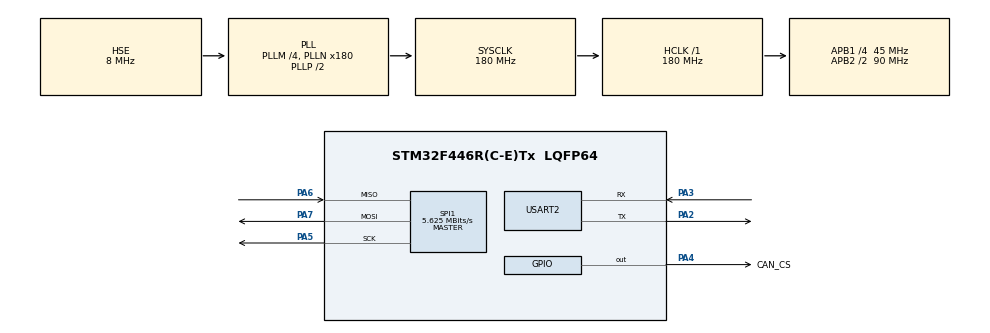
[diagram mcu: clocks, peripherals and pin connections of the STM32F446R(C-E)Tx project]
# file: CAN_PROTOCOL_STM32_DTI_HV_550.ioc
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Mcu.Family=STM32F4
Mcu.Name=STM32F446R(C-E)Tx
Mcu.Package=LQFP64
NVIC.PriorityGroup=NVIC_PRIORITYGROUP_0
NVIC.USART2_IRQn=true\:0\:0\:false\:false\:true\:true\:true\:true
PA13.Mode=Serial_Wire
PA13.Signal=SYS_JTMS-SWDIO
PA14.Mode=Serial_Wire
PA14.Signal=SYS_JTCK-SWCLK
PA2.Mode=Asynchronous
PA2.Signal=USART2_TX
PA3.Mode=Asynchronous
PA3.Signal=USART2_RX
PA4.GPIO_Label=CAN_CS
PA4.Signal=GPIO_Output
PA5.Mode=Full_Duplex_Master
PA5.Signal=SPI1_SCK
PA6.Mode=Full_Duplex_Master
PA6.Signal=SPI1_MISO
PA7.Mode=Full_Duplex_Master
PA7.Signal=SPI1_MOSI
PH0-OSC_IN.Mode=HSE-External-Oscillator
PH0-OSC_IN.Signal=RCC_OSC_IN
PH1-OSC_OUT.Mode=HSE-External-Oscillator
PH1-OSC_OUT.Signal=RCC_OSC_OUT
ProjectManager.HeapSize=0x200
ProjectManager.StackSize=0x400
ProjectManager.TargetToolchain=STM32CubeIDE
RCC.48MHZClocksFreq_Value=84000000
RCC.AHBFreq_Value=180000000
RCC.APB1CLKDivider=RCC_HCLK_DIV4
RCC.APB1Freq_Value=45000000
RCC.APB1TimFreq_Value=90000000
RCC.APB2CLKDivider=RCC_HCLK_DIV2
RCC.APB2Freq_Value=90000000
RCC.APB2TimFreq_Value=180000000
RCC.CortexFreq_Value=180000000
RCC.FLatency-AdvancedSettings=FLASH_LATENCY_5
RCC.HCLKFreq_Value=180000000
RCC.HSE_VALUE=8000000
RCC.HSI_VALUE=16000000
RCC.PLLM=4
RCC.PLLN=180
RCC.PLLSourceVirtual=RCC_PLLSOURCE_HSE
RCC.SYSCLKFreq_VALUE=180000000
RCC.SYSCLKSource=RCC_SYSCLKSOURCE_PLLCLK
RCC.USBFreq_Value=180000000
RCC.VCOOutputFreq_Value=360000000
SPI1.BaudRatePrescaler=SPI_BAUDRATEPRESCALER_16
SPI1.CalculateBaudRate=5.625 MBits/s
SPI1.Direction=SPI_DIRECTION_2LINES
SPI1.Mode=SPI_MODE_MASTER
SPI1.VirtualType=VM_MASTER
USART2.VirtualMode=VM_ASYNC
board=NUCLEO-F446RE

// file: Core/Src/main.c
/* USER CODE BEGIN Header */
/**
  ******************************************************************************
  * @file           : main.c
  * @brief          : CAN message decode + LED blink on STM32
  ******************************************************************************
  */
/* USER CODE END Header */
#include "main.h"

/* USER CODE BEGIN Includes */
#include "CANSPI.h"
/* USER CODE END Includes */

SPI_HandleTypeDef hspi1;
UART_HandleTypeDef huart2;

/* USER CODE BEGIN PV */
//CAN_RxHeaderTypeDef RxHeader;
//uint8_t RxData[8];
//uint8_t can_msg_received = 0;

char uart_buffer[100];
/* USER CODE END PV */
//uint8_t tx_buffer[27]="";

void SystemClock_Config(void);
static void MX_GPIO_Init(void);
static void MX_SPI1_Init(void);
static void MX_USART2_UART_Init(void);

/* USER CODE BEGIN 0 */
int _write(int file, char *ptr, int len)
{
    HAL_UART_Transmit(&huart2, (uint8_t *)ptr, len, HAL_MAX_DELAY);
    return len;
}

void Decode_CAN_Message(CAN_RxHeaderTypeDef *header, uint8_t *data)
{
    switch (header->StdId)
    {
		case 0x20: // ERPM, Duty, Voltage
		{
			int32_t erpm = (int32_t)((data[0] << 24) | (data[1] << 16) | (data[2] << 8) | data[3]);
			uint16_t duty_raw = (data[4] << 8) | data[5];
			uint16_t voltage = (data[6] << 8) | data[7];

			float duty = duty_raw / 10.0f;

			sprintf(uart_buffer,
					"ID: 0x20 | ERPM: %ld | Duty: %.1f %% | Voltage: %u V\r\n",
					erpm, duty, voltage);
			HAL_UART_Transmit(&huart2,uart_buffer,sizeof(uart_buffer),100);
			HAL_Delay(500);
			break;
		}

        case 0x21: // AC Current, DC Current
        {
            uint16_t ac_current_raw = (data[0] << 8) | data[1];
            uint16_t dc_current_raw = (data[2] << 8) | data[3];

            float ac_current = ac_current_raw * 0.01f;
            float dc_current = dc_current_raw * 0.1f;

            sprintf(uart_buffer,
                    "ID: 0x21 | AC Current: %.2f A | DC Current: %.2f A\r\n",
                    ac_current, dc_current);
            HAL_UART_Transmit(&huart2,uart_buffer,sizeof(uart_buffer),100);
            HAL_Delay(500);
            break;
        }

        case 0x22: // Ctrl Temp, Motor Temp, Fault Code
        {
            uint16_t ctrl_temp_raw = (data[0] << 8) | data[1];
            uint16_t motor_temp_raw = (data[2] << 8) | data[3];
            uint8_t fault_code = data[4];

            float ctrl_temp = ctrl_temp_raw * 0.1f;
            float motor_temp = motor_temp_raw * 0.1f;

            sprintf(uart_buffer,
                    "ID: 0x22 | Ctrl Temp: %.1f °C | Motor Temp: %.1f °C | Fault: 0x%02X\r\n",
                    ctrl_temp, motor_temp, fault_code);
            HAL_UART_Transmit(&huart2,uart_buffer,sizeof(uart_buffer),100);
            HAL_Delay(500);
            break;
        }

        default:
            sprintf(uart_buffer, "Unknown CAN ID: 0x%03lX\r\n", (unsigned long)header->StdId);
            HAL_UART_Transmit(&huart2,uart_buffer,sizeof(uart_buffer),100);
            HAL_Delay(500);
            break;
    }

    HAL_UART_Transmit(&huart2, (uint8_t*)uart_buffer, strlen(uart_buffer), HAL_MAX_DELAY);
}

//void HAL_CAN_RxFifo0MsgPendingCallback(CAN_HandleTypeDef *hcan)
//{
//    if (HAL_CAN_GetRxMessage(hcan, CAN_RX_FIFO0, &RxHeader, RxData) == HAL_OK)
//    {
//        Decode_CAN_Message(&RxHeader, RxData);
//        can_msg_received = 1;
//    }
//}
/* USER CODE END 0 */

int main(void)
{

  /* MCU Configuration--------------------------------------------------------*/

  /* Reset of all peripherals, Initializes the Flash interface and the Systick. */
  HAL_Init();

  /* Configure the system clock */
  SystemClock_Config();

  /* Initialize all configured peripherals */
  MX_GPIO_Init();
  MX_SPI1_Init();
  MX_USART2_UART_Init();
  /* USER CODE BEGIN 2 */
  uint16_t readValue;
  uint16_t rxValue;
  uCAN_MSG txMessage;
  uCAN_MSG rxMessage;
  HAL_ADC_Start(&hadc1);
  CANSPI_Initialize();
  HAL_Delay(1000);
  /* USER CODE END 2 */

  /* Infinite loop */
  /* USER CODE BEGIN WHILE */
  while (1)
  {
//	    HAL_ADC_PollForConversion(&hadc1,1000);
//	    readValue = HAL_ADC_GetValue(&hadc1);
//	    txMessage.frame.idType = dSTANDARD_CAN_MSG_ID_2_0B;
//	    txMessage.frame.id = 0x127; // ID can be between Hex1 and Hex7FF (1-2047 decimal)
//	    txMessage.frame.dlc = 8;
//	    txMessage.frame.data0 = 'S';
//	    txMessage.frame.data1 = 'T';
//	    txMessage.frame.data2 = 'M';
//	    txMessage.frame.data3 = '3';
//	    txMessage.frame.data4 = '2';
//	    txMessage.frame.data5 = '-';
//	    txMessage.frame.data6 = readValue & 0xff;
//	    txMessage.frame.data7 = readValue >> 8;
//	    CANSPI_Transmit(&txMessage);

	    if(CANSPI_Receive(&rxMessage))
	    {
	    	CAN_RxHeaderTypeDef fakeHeader;
	    	fakeHeader.StdId = rxMessage.frame.id;
	    	Decode_CAN_Message(&fakeHeader, &rxMessage.frame.data0);
	    }
	    HAL_Delay(100);
    /* USER CODE END WHILE */

  }
}

void SystemClock_Config(void)
{
  RCC_OscInitTypeDef RCC_OscInitStruct = {0};
  RCC_ClkInitTypeDef RCC_ClkInitStruct = {0};

  /** Configure the main internal regulator output voltage
  */
  __HAL_RCC_PWR_CLK_ENABLE();
  __HAL_PWR_VOLTAGESCALING_CONFIG(PWR_REGULATOR_VOLTAGE_SCALE1);

  /** Initializes the RCC Oscillators according to the specified parameters
  * in the RCC_OscInitTypeDef structure.
  */
  RCC_OscInitStruct.OscillatorType = RCC_OSCILLATORTYPE_HSE;
  RCC_OscInitStruct.HSEState = RCC_HSE_ON;
  RCC_OscInitStruct.PLL.PLLState = RCC_PLL_ON;
  RCC_OscInitStruct.PLL.PLLSource = RCC_PLLSOURCE_HSE;
  RCC_OscInitStruct.PLL.PLLM = 4;
  RCC_OscInitStruct.PLL.PLLN = 180;
  RCC_OscInitStruct.PLL.PLLP = RCC_PLLP_DIV2;
  RCC_OscInitStruct.PLL.PLLQ = 2;
  RCC_OscInitStruct.PLL.PLLR = 2;
  if (HAL_RCC_OscConfig(&RCC_OscInitStruct) != HAL_OK)
  {
    Error_Handler();
  }

  /** Activate the Over-Drive mode
  */
  if (HAL_PWREx_EnableOverDrive() != HAL_OK)
  {
    Error_Handler();
  }

  /** Initializes the CPU, AHB and APB buses clocks
  */
  RCC_ClkInitStruct.ClockType = RCC_CLOCKTYPE_HCLK|RCC_CLOCKTYPE_SYSCLK
                              |RCC_CLOCKTYPE_PCLK1|RCC_CLOCKTYPE_PCLK2;
  RCC_ClkInitStruct.SYSCLKSource = RCC_SYSCLKSOURCE_PLLCLK;
  RCC_ClkInitStruct.AHBCLKDivider = RCC_SYSCLK_DIV1;
  RCC_ClkInitStruct.APB1CLKDivider = RCC_HCLK_DIV4;
  RCC_ClkInitStruct.APB2CLKDivider = RCC_HCLK_DIV2;

  if (HAL_RCC_ClockConfig(&RCC_ClkInitStruct, FLASH_LATENCY_5) != HAL_OK)
  {
    Error_Handler();
  }
}

static void MX_SPI1_Init(void)
{

  /* SPI1 parameter configuration*/
  hspi1.Instance = SPI1;
  hspi1.Init.Mode = SPI_MODE_MASTER;
  hspi1.Init.Direction = SPI_DIRECTION_2LINES;
  hspi1.Init.DataSize = SPI_DATASIZE_8BIT;
  hspi1.Init.CLKPolarity = SPI_POLARITY_LOW;
  hspi1.Init.CLKPhase = SPI_PHASE_1EDGE;
  hspi1.Init.NSS = SPI_NSS_SOFT;
  hspi1.Init.BaudRatePrescaler = SPI_BAUDRATEPRESCALER_16;
  hspi1.Init.FirstBit = SPI_FIRSTBIT_MSB;
  hspi1.Init.TIMode = SPI_TIMODE_DISABLE;
  hspi1.Init.CRCCalculation = SPI_CRCCALCULATION_DISABLE;
  hspi1.Init.CRCPolynomial = 10;
  if (HAL_SPI_Init(&hspi1) != HAL_OK)
  {
    Error_Handler();
  }

}

static void MX_USART2_UART_Init(void)
{

  huart2.Instance = USART2;
  huart2.Init.BaudRate = 115200;
  huart2.Init.WordLength = UART_WORDLENGTH_8B;
  huart2.Init.StopBits = UART_STOPBITS_1;
  huart2.Init.Parity = UART_PARITY_NONE;
  huart2.Init.Mode = UART_MODE_TX_RX;
  huart2.Init.HwFlowCtl = UART_HWCONTROL_NONE;
  huart2.Init.OverSampling = UART_OVERSAMPLING_16;
  if (HAL_UART_Init(&huart2) != HAL_OK)
  {
    Error_Handler();
  }

}

static void MX_GPIO_Init(void)
{
  GPIO_InitTypeDef GPIO_InitStruct = {0};

  /* GPIO Ports Clock Enable */
  __HAL_RCC_GPIOH_CLK_ENABLE();
  __HAL_RCC_GPIOA_CLK_ENABLE();

  /*Configure GPIO pin Output Level */
  HAL_GPIO_WritePin(CAN_CS_GPIO_Port, CAN_CS_Pin, GPIO_PIN_RESET);

  /*Configure GPIO pin : CAN_CS_Pin */
  GPIO_InitStruct.Pin = CAN_CS_Pin;
  GPIO_InitStruct.Mode = GPIO_MODE_OUTPUT_PP;
  GPIO_InitStruct.Pull = GPIO_NOPULL;
  GPIO_InitStruct.Speed = GPIO_SPEED_FREQ_LOW;
  HAL_GPIO_Init(CAN_CS_GPIO_Port, &GPIO_InitStruct);

}

void Error_Handler(void)
{
  __disable_irq();
  while (1)
  {
  }
}
